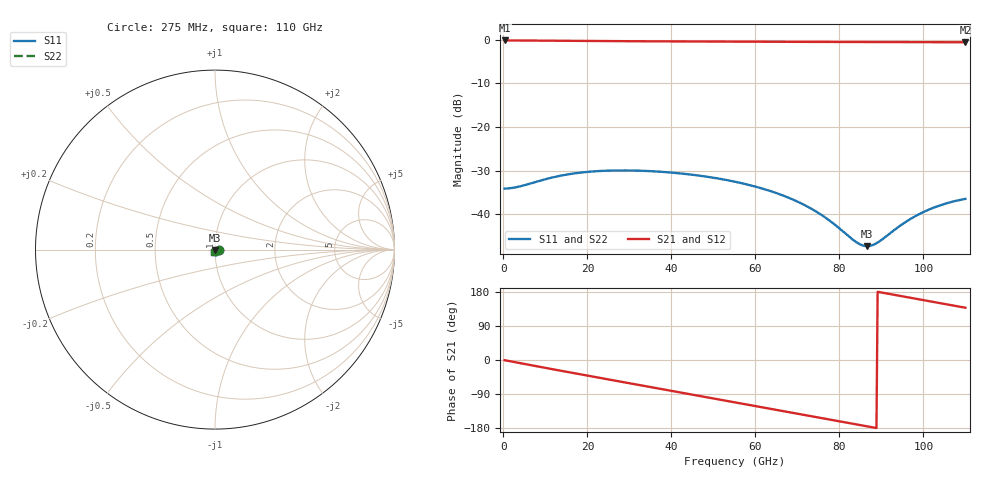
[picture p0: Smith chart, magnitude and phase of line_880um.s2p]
#  Hz  S  RI  R  50
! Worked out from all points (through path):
!   400 points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, 275 MHz to 110 GHz, reference 50 ohm
!   highest |S21| = -0.17 dB at 275 MHz (marker M1); lowest = -0.6 dB at 110 GHz (marker M2)
!   group delay of S21, straight-line fit = 5.59 ps
!   lowest |S11| = -47.3 dB at 86.62 GHz (marker M3), VSWR 1.01, Z = 49.8 - j0.36 ohm
!   |S11| at or under -10 dB: start of sweep to end of sweep
!   |S22| runs from -47.3 to -29.9 dB; largest |S21 - S12| = 0
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2.75e8  0.0197 3.43e-05  0.9804 -0.00989  0.9804 -0.00989  0.0197 3.43e-05
3.575e9  0.0207 0.000165  0.9712 -0.128  0.9712 -0.128  0.0207 0.000165
9.075e9  0.0244 -0.00265  0.9226 -0.3166  0.9226 -0.3166  0.0244 -0.00265
1.87e10  0.0257 -0.0159  0.7562 -0.6029  0.7562 -0.6029  0.0257 -0.0159
2.805e10  0.0164 -0.0274  0.5175 -0.8102  0.5175 -0.8102  0.0164 -0.0274
3.685e10  0.00358 -0.0307  0.2453 -0.9253  0.2453 -0.9253  0.00358 -0.0307
4.1525e10  -0.00285 -0.0295  0.0905 -0.9509  0.0905 -0.9509  -0.00285 -0.0295
4.5925e10  -0.00798 -0.0269  -0.0568 -0.9517  -0.0568 -0.9517  -0.00798 -0.0269
5.06e10  -0.0121 -0.023  -0.211 -0.9278  -0.211 -0.9278  -0.0121 -0.023
5.5275e10  -0.0146 -0.0185  -0.3589 -0.8793  -0.3589 -0.8793  -0.0146 -0.0185
6.0225e10  -0.0156 -0.0136  -0.5043 -0.8027  -0.5043 -0.8027  -0.0156 -0.0136
6.5175e10  -0.0149 -0.00908  -0.6341 -0.7025  -0.6341 -0.7025  -0.0149 -0.00908
7.3425e10  -0.0109 -0.00385  -0.8058 -0.4915  -0.8058 -0.4915  -0.0109 -0.00385
7.7825e10  -0.00795 -0.00262  -0.8706 -0.3615  -0.8706 -0.3615  -0.00795 -0.00262
8.415e10  -0.00378 -0.00291  -0.9272 -0.1611  -0.9272 -0.1611  -0.00378 -0.00291
8.6625e10  -0.00238 -0.00362  -0.937 -0.0801  -0.937 -0.0801  -0.00238 -0.00362
8.8825e10  -0.00132 -0.00448  -0.9399 -0.00774  -0.9399 -0.00774  -0.00132 -0.00448
9.185e10  -0.000207 -0.00596  -0.9347 0.0917  -0.9347 0.0917  -0.000207 -0.00596
9.625e10  0.000566 -0.00846  -0.9086 0.2339  -0.9086 0.2339  0.000566 -0.00846
1.00375e11  0.000344 -0.0108  -0.8645 0.362  -0.8645 0.362  0.000344 -0.0108
1.0505e11  -0.000892 -0.0132  -0.7929 0.4976  -0.7929 0.4976  -0.000892 -0.0132
1.1e11  -0.00296 -0.0148  -0.6942 0.6263  -0.6942 0.6263  -0.00296 -0.0148
